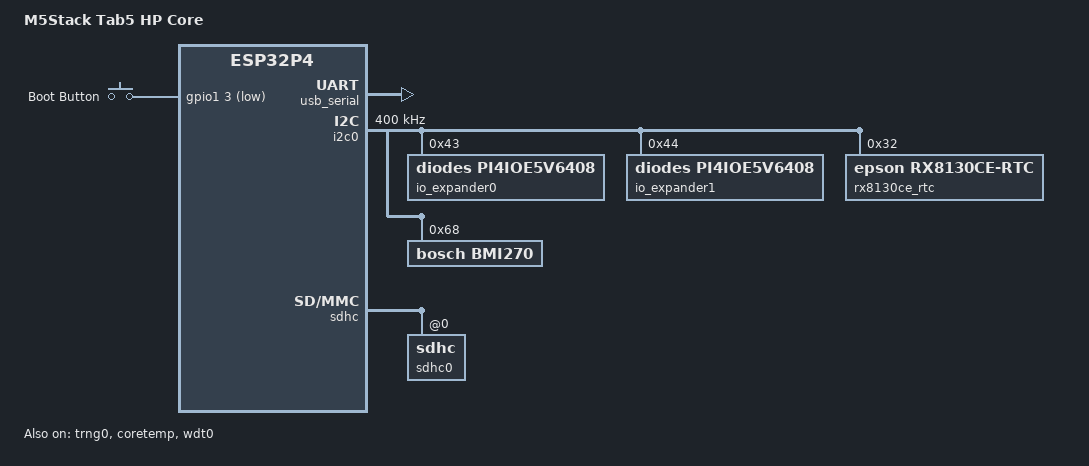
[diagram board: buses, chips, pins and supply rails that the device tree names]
/*
 * SPDX-FileCopyrightText: Copyright The Zephyr Project Contributors
 * SPDX-License-Identifier: Apache-2.0
 */

/dts-v1/;

#include <espressif/esp32p4/esp32p4.dtsi>
#include "m5stack_tab5_hpcore-pinctrl.dtsi"
#include <zephyr/dt-bindings/input/input-event-codes.h>
#include <espressif/partitions_0x2000_default_16M.dtsi>

/ {
	compatible = "espressif,esp32p4";
	model = "M5Stack Tab5 HP Core";

	chosen {
		zephyr,sram = &sramhp;
		zephyr,console = &usb_serial;
		zephyr,shell-uart = &usb_serial;
		zephyr,flash = &flash0;
		zephyr,code-partition = &slot0_partition;
		zephyr,rtc = &rx8130ce_rtc;
	};

	aliases {
		accel0 = &bmi270;
		rtc = &rx8130ce_rtc;
		sdhc0 = &sdhc0;
		sw0 = &boot_button;
		watchdog0 = &wdt0;
	};

	gpio_keys {
		compatible = "gpio-keys";

		boot_button: button {
			label = "Boot Button";
			gpios = <&gpio1 3 (GPIO_PULL_UP | GPIO_ACTIVE_LOW)>;
			zephyr,code = <INPUT_KEY_0>;
		};
	};
};

&flash0 {
	reg = <0x0 DT_SIZE_M(16)>;
	ranges = <0x0 0x0 DT_SIZE_M(16)>;
};

&psram0 {
	size = <DT_SIZE_M(32)>;
};

/* Pre-v3 silicon: valid CPU frequencies are 90/180/360 MHz */
&cpu0 {
	clock-frequency = <DT_FREQ_M(360)>;
};

&cpu1 {
	clock-frequency = <DT_FREQ_M(360)>;
};

&usb_serial {
	status = "okay";
};

/* Internal system bus */
&i2c0 {
	clock-frequency = <I2C_BITRATE_FAST>;
	pinctrl-0 = <&i2c0_default>;
	pinctrl-names = "default";
	status = "okay";

	/*
	 * Pin 1: speaker amplifier enable, pin 4: LCD enable,
	 * pin 5: touch enable, pin 6: camera enable.
	 */
	io_expander0: pi4ioe5v6408@43 {
		compatible = "diodes,pi4ioe5v6408";
		reg = <0x43>;
		gpio-controller;
		#gpio-cells = <2>;
		ngpios = <8>;
	};

	/* Pin 0: ESP32-C6 power enable, pin 3: USB-A 5 V enable. */
	io_expander1: pi4ioe5v6408@44 {
		compatible = "diodes,pi4ioe5v6408";
		reg = <0x44>;
		gpio-controller;
		#gpio-cells = <2>;
		ngpios = <8>;
	};

	rx8130ce_rtc: rtc@32 {
		compatible = "epson,rx8130ce-rtc";
		reg = <0x32>;
	};

	bmi270: bmi270@68 {
		compatible = "bosch,bmi270";
		reg = <0x68>;
	};
};

&i2s0 {
	pinctrl-0 = <&i2s0_default>;
	pinctrl-names = "default";
	status = "disabled";
};

&trng0 {
	status = "okay";
};

&coretemp {
	status = "okay";
};

&gpio0 {
	status = "okay";
};

&gpio1 {
	status = "okay";
};

&wdt0 {
	status = "okay";
};

&dma {
	status = "okay";
};

&dma_axi {
	status = "okay";
};

&ldo {
	status = "okay";

	/* LDO_VO4 supplies the microSD card and its I/O domain. */
	ldo4@4 {
		regulator-init-microvolt = <3300000>;
		regulator-boot-on;
		regulator-always-on;
	};
};

&sdhc {
	sdhc0: sdhc@0 {
		bus-width = <4>;
		max-bus-freq = <40000000>;
		clk-pin = <43>;
		cmd-pin = <44>;
		d0-pin = <39>;
		d1-pin = <40>;
		d2-pin = <41>;
		d3-pin = <42>;
		status = "okay";

		mmc {
			compatible = "zephyr,sdmmc-disk";
			disk-name = "SD";
			status = "okay";
		};
	};
};
